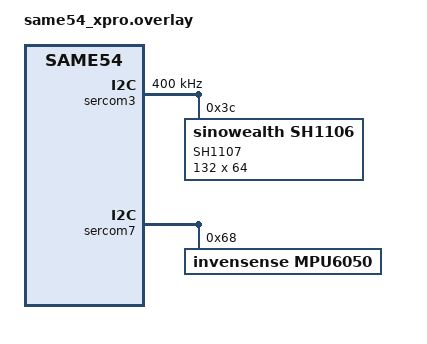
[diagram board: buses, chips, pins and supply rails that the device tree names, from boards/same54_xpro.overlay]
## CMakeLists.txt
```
# Minimum CMake version
cmake_minimum_required(VERSION 3.20.0)

# Add additional modules
#set(ZEPHYR_EXTRA_MODULES "${CMAKE_SOURCE_DIR}/../../modules/mcp9808")
#set(ZEPHYR_EXTRA_MODULES "${CMAKE_SOURCE_DIR}/../../modules/lib/gui/lvgl")

# Locate the Zephyr RTOS source
find_package(Zephyr REQUIRED HINTS $ENV{ZEPHYR_BASE})

# Name the project
project(motion_oled)

# Locate the source code for the application
target_sources(app PRIVATE src/main.c)
```

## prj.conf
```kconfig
CONFIG_HEAP_MEM_POOL_SIZE=4096
CONFIG_GPIO=y
CONFIG_SENSOR=y

#CONFIG_MCP9808=y
#CONFIG_OPT3001=y

CONFIG_I2C=y
CONFIG_DISPLAY=y

CONFIG_SSD1306_DEFAULT_CONTRAST=128
CONFIG_CHARACTER_FRAMEBUFFER=y
CONFIG_CHARACTER_FRAMEBUFFER_USE_DEFAULT_FONTS=y

CONFIG_LOG=y
CONFIG_LOG_DEFAULT_LEVEL=3

CONFIG_MPU6050=y
#CONFIG_MPU6050_ACCEL_FS=2
#CONFIG_MPU6050_GYRO_FS=250
CONFIG_MPU6050_THREAD_PRIORITY=10
CONFIG_MPU6050_THREAD_STACK_SIZE=1024
CONFIG_MPU6050_TRIGGER_GLOBAL_THREAD=n
CONFIG_MPU6050_TRIGGER_NONE=n
CONFIG_MPU6050_TRIGGER_OWN_THREAD=n
```

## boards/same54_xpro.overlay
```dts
/*
 * SPDX-License-Identifier: Apache-2.0
 *
 * Copyright (c) 2021 Gerson Fernando Budke <nandojve@gmail.com>
 */

/ {
    aliases {
        sh1107 = &sh1107_3c_sercom3;
        mpu6050 = &mpu6050_68_sercom7;
    };

    chosen {
        zephyr,display = &sh1107_3c_sercom3;
    };
};

&pinctrl {
	sercom3_i2c_default: sercom3_i2c_default {
		group1 {
			pinmux = <PA22C_SERCOM3_PAD0>,
				 <PA23C_SERCOM3_PAD1>;
		};
	};
};

&sercom3 {
	status = "okay";
	compatible = "atmel,sam0-i2c";
	clock-frequency = <I2C_BITRATE_FAST>;
	#address-cells = <1>;
	#size-cells = <0>;

	pinctrl-0 = <&sercom3_i2c_default>;
	pinctrl-names = "default";

    sh1107_3c_sercom3: sh1107@3c {
        compatible = "sinowealth,sh1106";
        label = "SH1107";
	    reg = <0x3c>;
	    height = <64>;
	    width = <132>;
	    segment-offset = <0>;
	    page-offset = <0>;
	    display-offset = <0>;
	    multiplex-ratio = <63>;
	    prechargep = <0x22>;
	    com-invdir;
	    segment-remap;
    };
};

&sercom7 {
	status = "okay";
    compatible = "atmel,sam0-i2c";

    mpu6050_68_sercom7: mpu6050@68 {
        compatible = "invensense,mpu6050"; 					// Specify device bindings/driver
        reg = <0x68>; 										// I2C address of the MCP9808
        label = "mpu6050";
        status = "okay"; 									// Enable the MCP9808 sensor
    };      
};
```

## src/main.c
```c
#include <stdint.h>
#include <stdio.h>
#include <zephyr/device.h>
#include <zephyr/kernel.h>
#include <zephyr/drivers/sensor.h>
#include <zephyr/drivers/display.h>
#include <zephyr/display/cfb.h>
#include <zephyr/logging/log.h>
#include <zephyr/display/cfb.h>
#include "image.h"

#define DISPLAY_BUFFER_PITCH 132
uint8_t msgBuf[100];

static const struct device *display = DEVICE_DT_GET(DT_ALIAS(sh1107));
const struct device *const motionSensor = DEVICE_DT_GET(DT_ALIAS(mpu6050));
int ret;


void normalize_sensor_value(struct sensor_value *value) {
    if (value->val2 < 0) {
        // Handle negative fractional part
        value->val1 -= 1;                  // Decrement integer part
        value->val2 += 1000000;           // Add 1.0 to fractional part
    }
}


int main(void)
{
  // struct sensor_value motionTemp;
  struct sensor_value motionAcc[3];
  struct sensor_value motionGyr[3];

  // Check devices
  if (!device_is_ready(display))
  {
    printf("Device %s is not ready.\n", display->name);
    return 0;
  }
  if (!device_is_ready(motionSensor))
  {
    printf("Device %s is not ready.\n", motionSensor->name);
    return 0;
  }

  // Display welcome image for 3 sec
  struct display_capabilities capabilities;
  display_get_capabilities(display, &capabilities);
  const struct display_buffer_descriptor buf_desc = {
      .width = capabilities.x_resolution,
      .height = capabilities.y_resolution,
      .buf_size = capabilities.x_resolution * capabilities.y_resolution,
      .pitch = capabilities.x_resolution};
  if (display_write(display, 0, 0, &buf_desc, imageBuf) != 0)
  {
    printf("could not write to display");
  }
  k_sleep(K_MSEC(3000));

  // Initialize cfb framebuffer
  if (cfb_framebuffer_init(display) != 0)
  {
    printf("could not initialize CFB");
    return 0;
  }
  if (cfb_framebuffer_clear(display, true) != 0)
  {
    printf("could not clear display");
    return 0;
  }

  cfb_print(display, "Accel:", 0, 0);
  cfb_print(display, "Gyro:", 67, 0);
  cfb_framebuffer_finalize(display);

  while (1)
  {
    // // Fetch data from sensors
    ret = sensor_sample_fetch(motionSensor);
    if (ret)
    {
      printf("Sample fetch error: %d\n", ret);
      return 0;
    }

    // SENSOR_CHAN_ACCEL_XYZ
    // SENSOR_CHAN_ACCEL_X
    // SENSOR_CHAN_ACCEL_Y
    // SENSOR_CHAN_ACCEL_Z
    // SENSOR_CHAN_GYRO_XYZ
    // SENSOR_CHAN_GYRO_X
    // SENSOR_CHAN_GYRO_Y
    // SENSOR_CHAN_GYRO_Z
    // SENSOR_CHAN_DIE_TEMP

    ret = sensor_channel_get(motionSensor, SENSOR_CHAN_ACCEL_XYZ, motionAcc);
    if (ret)
    {
      printf("Channel get error: %d\n", ret);
      return 0;
    }

    ret = sensor_channel_get(motionSensor, SENSOR_CHAN_GYRO_XYZ, motionGyr);
    if (ret)
    {
      printf("Channel get error: %d\n", ret);
      return 0;
    }


    // // JMR: Writing spaces to framebuffer instead of doing a clear to avoid flicker...
    // cfb_framebuffer_clear(display, true);
    cfb_print(display, "               ", 0, 1 * 15);
    cfb_print(display, "               ", 0, 2 * 15);
    cfb_print(display, "               ", 0, 3 * 15);

    //sprintf((char *)msgBuf, "Temp: %d.%02d", motionTemp.val1, motionTemp.val2 / 10000);
    //cfb_print(display, msgBuf, 0, 0);
    normalize_sensor_value(&motionAcc[0]);
    sprintf((char *)msgBuf, "%d.%02d", motionAcc[0].val1, motionAcc[0].val2 / 10000);
    cfb_print(display, msgBuf, 0, 1 * 15);
    normalize_sensor_value(&motionAcc[1]);
    sprintf((char *)msgBuf, "%d.%02d", motionAcc[1].val1, motionAcc[1].val2 / 10000);
    cfb_print(display, msgBuf, 0, 2 * 15);
    normalize_sensor_value(&motionAcc[2]);
    sprintf((char *)msgBuf, "%d.%02d", motionAcc[2].val1, motionAcc[2].val2 / 10000);
    cfb_print(display, msgBuf, 0, 3 * 15);

    normalize_sensor_value(&motionGyr[0]);
    sprintf((char *)msgBuf, "%d.%02d", motionGyr[0].val1, motionGyr[0].val2 / 10000);
    cfb_print(display, msgBuf, 67, 1 * 15);
    normalize_sensor_value(&motionGyr[1]);
    sprintf((char *)msgBuf, "%d.%02d", motionGyr[1].val1, motionGyr[1].val2 / 10000);
    cfb_print(display, msgBuf, 67, 2 * 15);
    normalize_sensor_value(&motionGyr[2]);
    sprintf((char *)msgBuf, "%d.%02d", motionGyr[2].val1, motionGyr[2].val2 / 10000);
    cfb_print(display, msgBuf, 67, 3 * 15);

    cfb_framebuffer_finalize(display);
    k_sleep(K_MSEC(50));
  }
  return 0;
}
```

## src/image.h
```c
// Fullscreen welcome image
uint8_t imageBuf[1056] = {
0xff, 0xff, 0xff, 0xff, 0xff, 0xff, 0xff, 0xff, 0xff, 0xff, 0xff, 0xff, 0xff, 0xff, 0xff, 0xff, 
0xff, 0xff, 0xff, 0xff, 0xff, 0xff, 0xff, 0xff, 0xff, 0xff, 0xff, 0xff, 0xff, 0xff, 0xff, 0xff, 
0xff, 0xff, 0xff, 0xff, 0xff, 0xff, 0xff, 0xff, 0xff, 0xff, 0xff, 0xff, 0xff, 0xff, 0xff, 0xff, 
0xff, 0xff, 0xff, 0xff, 0xff, 0xff, 0xff, 0xff, 0xff, 0xff, 0xff, 0xff, 0xff, 0xff, 0xff, 0xff, 
0xff, 0xff, 0xff, 0xff, 0xff, 0xff, 0xff, 0xff, 0xff, 0xff, 0xff, 0xff, 0xff, 0xff, 0xff, 0xff, 
0xff, 0xff, 0xff, 0xff, 0xff, 0xff, 0xff, 0xff, 0xff, 0xff, 0xff, 0xff, 0xff, 0xff, 0xff, 0xff, 
0xff, 0xff, 0xff, 0xff, 0xff, 0xff, 0xff, 0xff, 0xff, 0xff, 0xff, 0xff, 0xff, 0xff, 0xff, 0xff, 
0xff, 0xff, 0xff, 0xff, 0xff, 0xff, 0xff, 0xff, 0xff, 0xff, 0xff, 0xff, 0xff, 0xff, 0xff, 0xff, 
0xff, 0xff, 0xff, 0xff, 0xff, 0xff, 0xff, 0xff, 0xff, 0xff, 0xff, 0xff, 0x7f, 0x3f, 0x1f, 0x0f, 
0x07, 0x07, 0x03, 0x03, 0x01, 0x81, 0x81, 0x00, 0x00, 0x00, 0x00, 0x00, 0x00, 0x00, 0x00, 0x00, 
0x00, 0x00, 0x00, 0x01, 0x81, 0x01, 0x03, 0x0f, 0x1f, 0x71, 0xf1, 0xf1, 0xfb, 0xff, 0xff, 0xff, 
0xff, 0xff, 0xff, 0xff, 0xff, 0xff, 0xff, 0xff, 0xff, 0xff, 0xff, 0xff, 0xff, 0xff, 0xff, 0xff, 
0xff, 0xff, 0xff, 0xff, 0xff, 0xff, 0xff, 0xff, 0xff, 0xff, 0xff, 0xff, 0xff, 0xff, 0xff, 0xff, 
0xff, 0xff, 0xff, 0xff, 0xff, 0xff, 0xff, 0xff, 0xff, 0xff, 0xff, 0xff, 0xff, 0xff, 0xff, 0xff, 
0xff, 0xff, 0xff, 0xff, 0xff, 0x7f, 0x0f, 0x0f, 0x0f, 0x0f, 0x0f, 0x0f, 0x0f, 0x0f, 0x0f, 0x0f, 
0x0f, 0x0f, 0x0f, 0x0f, 0x0f, 0x0f, 0x0f, 0x0f, 0x0f, 0x0f, 0x0f, 0x0f, 0x0f, 0x0f, 0x0f, 0x0f, 
0x0f, 0x0f, 0x0f, 0xff, 0xff, 0xff, 0xff, 0xff, 0xff, 0xff, 0xff, 0xff, 0xff, 0x0f, 0x03, 0x00, 
0x00, 0x00, 0x00, 0x00, 0x00, 0x20, 0x78, 0xfc, 0xff, 0xff, 0xff, 0xff, 0xfe, 0xf8, 0xf0, 0xc0, 
0x80, 0x00, 0x00, 0x20, 0x78, 0xfc, 0xfe, 0xff, 0xff, 0xff, 0xfe, 0xf8, 0xf0, 0xc0, 0x80, 0x03, 
0x0f, 0x1f, 0x7f, 0xff, 0xff, 0xff, 0xff, 0xff, 0xff, 0xff, 0xff, 0xff, 0xff, 0xff, 0xff, 0xff, 
0xff, 0x1f, 0x07, 0x03, 0x03, 0x01, 0x01, 0x01, 0x01, 0x03, 0x03, 0x07, 0x0f, 0x07, 0x03, 0x01, 
0x01, 0x01, 0x01, 0x01, 0x03, 0x07, 0x0f, 0xff, 0xff, 0xff, 0xff, 0xff, 0xff, 0xff, 0xff, 0xff, 
0xff, 0xff, 0xff, 0xff, 0xff, 0xff, 0xff, 0x1f, 0x03, 0x00, 0x00, 0x00, 0x00, 0x00, 0x00, 0x00, 
0x00, 0x00, 0x00, 0x00, 0x00, 0x00, 0x00, 0x00, 0x00, 0x00, 0x00, 0x00, 0x00, 0x00, 0x00, 0x00, 
0x00, 0x00, 0x00, 0x00, 0x00, 0x00, 0x00, 0xff, 0xff, 0xff, 0xff, 0xff, 0xff, 0xff, 0xff, 0xff, 
0xc0, 0x80, 0xc0, 0xe0, 0xf8, 0xfc, 0xfe, 0xfe, 0xfc, 0xf0, 0xe0, 0x01, 0x03, 0x0f, 0x1f, 0x7f, 
0xff, 0xff, 0xff, 0xff, 0xff, 0xfe, 0xfc, 0xf0, 0xe0, 0x81, 0x03, 0x0f, 0x1f, 0x7f, 0xff, 0xff, 
0xff, 0xff, 0xff, 0xfe, 0xfc, 0xf0, 0xe0, 0x80, 0x03, 0x87, 0xff, 0xff, 0xff, 0xff, 0xff, 0xff, 
0xff, 0xff, 0xff, 0xff, 0xff, 0xfe, 0xf8, 0xf0, 0xe0, 0xc0, 0x80, 0x00, 0x00, 0x00, 0x00, 0x00, 
0x00, 0x00, 0x00, 0x00, 0x00, 0x00, 0x80, 0xc0, 0xe0, 0xf8, 0xfc, 0xff, 0xff, 0xff, 0xff, 0xff, 
0xff, 0xff, 0xff, 0xff, 0xff, 0xff, 0xff, 0xff, 0x3f, 0x07, 0x00, 0x00, 0x00, 0x00, 0x00, 0x00, 
0x00, 0x00, 0x00, 0x00, 0x00, 0x00, 0x00, 0x00, 0x00, 0x00, 0x00, 0x00, 0x00, 0x00, 0x00, 0x00, 
0x00, 0x00, 0x00, 0x00, 0x00, 0x00, 0x00, 0x00, 0x00, 0x00, 0x00, 0xff, 0xff, 0xff, 0xff, 0xff, 
0xff, 0xff, 0xff, 0xff, 0xff, 0xff, 0xff, 0xff, 0xff, 0xff, 0x3f, 0x1f, 0x0f, 0x03, 0x01, 0x00, 
0x00, 0x00, 0x00, 0x00, 0x00, 0x03, 0x07, 0x1f, 0x3f, 0x3f, 0x3f, 0x1f, 0x07, 0x03, 0x00, 0x00, 
0x00, 0x00, 0x00, 0x03, 0x07, 0x1f, 0x3f, 0xff, 0xff, 0xff, 0xff, 0xff, 0xff, 0xff, 0xff, 0xff, 
0xff, 0xff, 0xff, 0xff, 0xff, 0xff, 0xff, 0xff, 0xff, 0xff, 0xff, 0xff, 0xff, 0xff, 0xff, 0xff, 
0xfe, 0xfc, 0xfc, 0xf8, 0xf0, 0xf8, 0xfc, 0xfe, 0xff, 0xff, 0xff, 0xff, 0xff, 0xff, 0xff, 0xff, 
0xff, 0xff, 0xff, 0xff, 0xff, 0xff, 0xff, 0xff, 0xff, 0x7f, 0x0f, 0x01, 0x00, 0x00, 0x00, 0x00, 
0x00, 0x00, 0x00, 0x00, 0x00, 0x00, 0x00, 0x00, 0x00, 0x00, 0x00, 0x00, 0x00, 0x00, 0x00, 0x00, 
0x00, 0x00, 0x00, 0x00, 0x00, 0x00, 0x00, 0x00, 0x00, 0x00, 0x00, 0x00, 0x00, 0x80, 0x80, 0xff, 
0xff, 0xff, 0xff, 0xff, 0xff, 0xff, 0xff, 0xff, 0xff, 0xff, 0xff, 0xff, 0xff, 0xff, 0xff, 0xfe, 
0xfc, 0xf8, 0xf8, 0xf0, 0xf0, 0xf0, 0xe0, 0xe0, 0xe0, 0xc0, 0xc0, 0xc0, 0xc0, 0xc0, 0xc0, 0xc0, 
0xc0, 0xe0, 0xe0, 0xe0, 0xe0, 0xf0, 0xf0, 0xf8, 0xf8, 0xfc, 0xfe, 0xff, 0xff, 0xff, 0xff, 0xff, 
0xff, 0xff, 0xf9, 0xf0, 0xe0, 0xc0, 0x80, 0x00, 0x00, 0xe0, 0xff, 0xff, 0xff, 0xff, 0xff, 0xff, 
0xff, 0xff, 0xff, 0xff, 0xff, 0xff, 0xff, 0xff, 0x7f, 0x3f, 0x3f, 0x7f, 0xff, 0xff, 0xff, 0xff, 
0xff, 0xff, 0xff, 0xff, 0xff, 0xff, 0xff, 0xff, 0xff, 0xff, 0x7f, 0x9f, 0x83, 0x80, 0x80, 0x80, 
0xc0, 0xc0, 0xc0, 0xc0, 0xc0, 0xe0, 0xe0, 0xe0, 0xe0, 0xf0, 0xf0, 0xf0, 0xf0, 0xf0, 0xf8, 0xf8, 
0xf8, 0xf8, 0xf8, 0xfc, 0xfc, 0xfc, 0xfc, 0xfc, 0xfe, 0xfe, 0xfe, 0xfe, 0xfe, 0xff, 0xff, 0xff, 
0xff, 0xff, 0xff, 0xff, 0xff, 0xff, 0xff, 0xff, 0xff, 0xff, 0xff, 0xff, 0xff, 0xff, 0xff, 0xff, 
0xff, 0xff, 0xff, 0xff, 0xff, 0xff, 0xff, 0xff, 0xff, 0xff, 0xff, 0xff, 0xff, 0xff, 0xff, 0xff, 
0xff, 0xff, 0xff, 0xff, 0xff, 0xff, 0xff, 0xff, 0xff, 0xff, 0xff, 0xff, 0xff, 0xff, 0xff, 0xff, 
0xff, 0xff, 0xff, 0xff, 0xff, 0xff, 0xff, 0xff, 0xff, 0xff, 0xff, 0xff, 0xfe, 0xf1, 0x81, 0x03, 
0x03, 0x03, 0x07, 0x87, 0x8f, 0xcf, 0xcf, 0xff, 0xef, 0xe7, 0xe1, 0xe0, 0xe0, 0xf0, 0xf0, 0xf0, 
0xf0, 0xf1, 0xf3, 0xf7, 0xf7, 0xf7, 0xe3, 0xe3, 0xc3, 0xc1, 0x81, 0x81, 0x00, 0x00, 0xf8, 0xff, 
0xff, 0xff, 0xff, 0xff, 0xff, 0xff, 0xff, 0xff, 0xff, 0xff, 0xff, 0xff, 0xff, 0xff, 0xff, 0xff, 
0xff, 0xff, 0xff, 0xff, 0xff, 0xff, 0xff, 0xff, 0xff, 0xff, 0xff, 0xff, 0xff, 0xff, 0xff, 0xff, 
0xff, 0xff, 0xff, 0xff, 0xff, 0xff, 0xff, 0xff, 0xff, 0xff, 0xff, 0xff, 0xff, 0xff, 0xff, 0xff, 
0xff, 0xff, 0xff, 0xff, 0xff, 0xff, 0xff, 0xff, 0xff, 0xff, 0xff, 0xff, 0xff, 0xff, 0xff, 0xff, 
0xff, 0xff, 0xff, 0xff, 0xff, 0xff, 0xff, 0xff, 0xff, 0xff, 0xff, 0xff, 0xff, 0xff, 0xff, 0xff, 
0xff, 0xff, 0xff, 0xff, 0xff, 0xff, 0xff, 0xff, 0xff, 0xff, 0xff, 0xff, 0xff, 0xff, 0xff, 0xff, 
0xff, 0xff, 0xff, 0xfe, 0xfe, 0xff, 0xff, 0xff, 0xff, 0xff, 0xff, 0xff, 0xff, 0xff, 0xff, 0xff, 
0xff, 0xff, 0xff, 0xff, 0xff, 0xff, 0xff, 0xff, 0xff, 0xff, 0xff, 0xff, 0xff, 0xff, 0xff, 0xff, 
0xff, 0xff, 0xff, 0xff, 0xff, 0xff, 0xff, 0xff, 0xff, 0xff, 0xff, 0xff, 0xff, 0xff, 0xff, 0xff, 
0xff, 0xff, 0xff, 0xff, 0xff, 0xff, 0xff, 0xff, 0xff, 0xff, 0xff, 0xff, 0xff, 0xff, 0xff, 0xff, 
0xff, 0xff, 0xff, 0xff, 0xff, 0xff, 0xff, 0xff, 0xff, 0xff, 0xff, 0xff, 0xff, 0xff, 0xff, 0xff};
```
